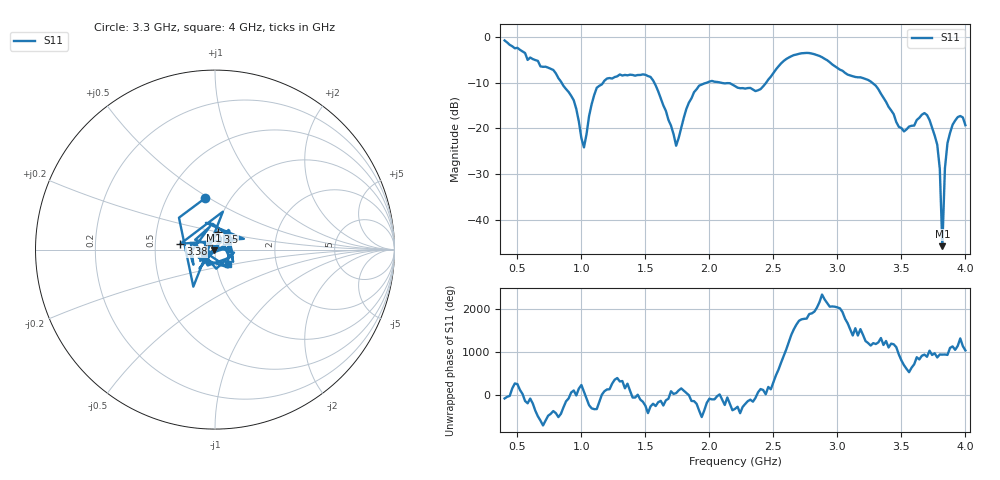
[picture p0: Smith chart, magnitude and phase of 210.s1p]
!Created with skrf (http://scikit-rf.org).
# Hz S RI R 50.0
!freq ReS11 ImS11
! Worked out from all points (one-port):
!   181 points, 400 MHz to 4 GHz, reference 50 ohm
!   lowest |S11| = -45.8 dB at 3.82 GHz (marker M1), VSWR 1.01, Z = 49.6 - j0.29 ohm
!   |S11| at or under -10 dB: 1.569 GHz to 1.981 GHz (411.6 MHz wide, 23.2 % of centre); 2.089 GHz to 2.444 GHz (354.6 MHz wide, 15.6 % of centre); 3.271 GHz to end of sweep (the widest 3 of 4)
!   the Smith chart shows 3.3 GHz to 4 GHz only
!   S11 on the Smith chart (normalised r, x): 3.3 GHz: 0.77, +0.48; 3.38 GHz: 0.68, +0.05; 3.5 GHz: 1.01, +0.20; 4 GHz: 1.14, -0.19
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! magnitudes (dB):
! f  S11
! 400 MHz  -0.8
! 860 MHz  -10.7
! 940 MHz  -13.8
! 1.02 GHz  -24.2
! 1.12 GHz  -11.1
! 1.3 GHz  -8.2
! 1.54 GHz  -8.7
! 1.74 GHz  -23.8
! 1.76 GHz  -22.1
! 1.82 GHz  -15.7
! 1.92 GHz  -10.7
! 2.2 GHz  -10.7
! 2.4 GHz  -11.4
! 2.66 GHz  -4.0
! 2.86 GHz  -4.2
! 3.1 GHz  -8.4
! 3.3 GHz  -10.7
! 3.38 GHz  -14.2
! 3.5 GHz  -19.9
! 3.56 GHz  -19.6
! 3.68 GHz  -16.7
! 3.78 GHz  -23.6
! 3.8 GHz  -28.8
! 3.82 GHz  -45.8
! 3.84 GHz  -28.8
! 3.86 GHz  -23.2
! 3.94 GHz  -17.5
! 4 GHz  -19.3
